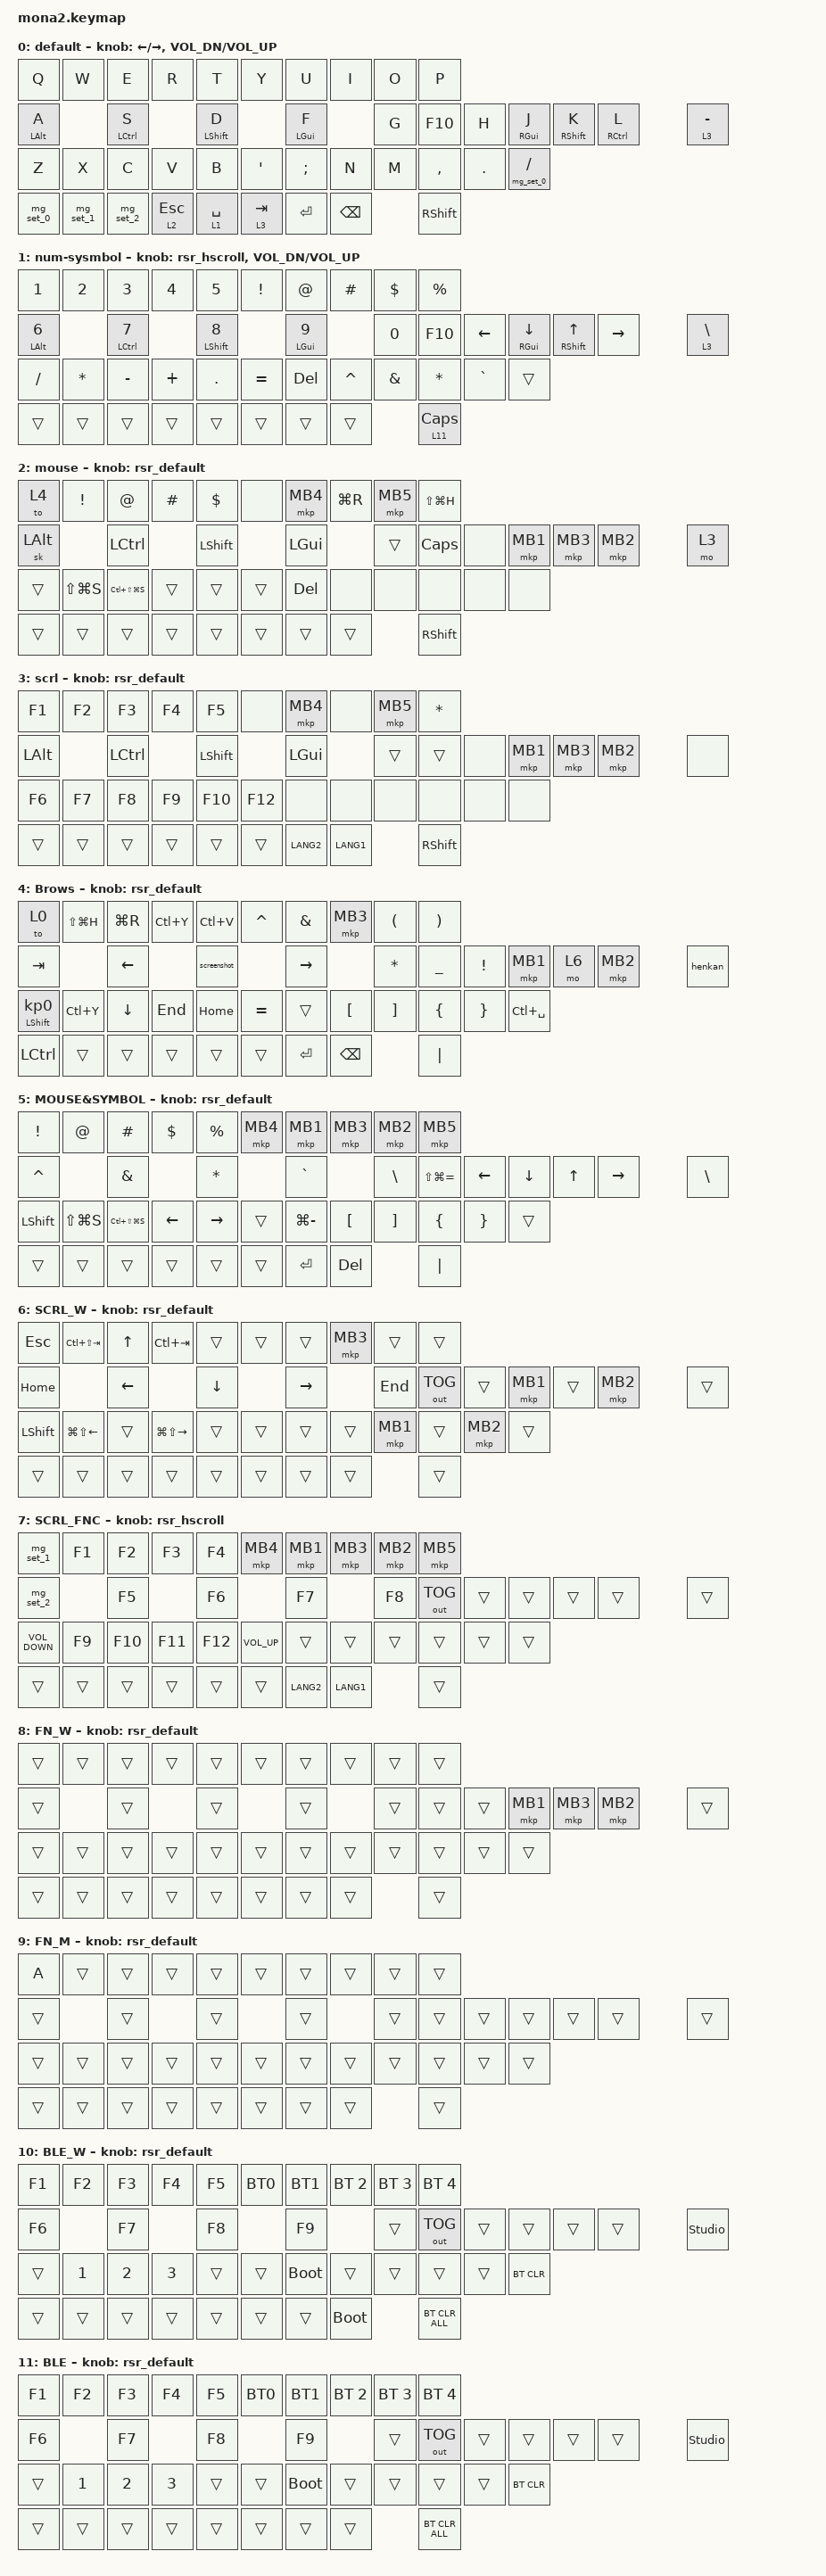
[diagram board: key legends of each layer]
#include <input/processors.dtsi>
#include <dt-bindings/zmk/input_transform.h>
#include <zephyr/dt-bindings/input/input-event-codes.h>
#include <behaviors/runtime-sensor-rotate.dtsi>
#include <behaviors.dtsi>
/* DYA Studio から作成したマクロを呼び出す `&rmacro <slot>` を定義する。
   slot は 0 〜 CONFIG_ZMK_RUNTIME_MACRO_COUNT-1 (現状 0〜7)。
   どのマクロがどのスロットに入っているかは DYA Studio のマクロ一覧で確認する。
   キーへの割り当ては DYA Studio のキーマップエディタからも行える。 */
#include <behaviors/runtime_macro.dtsi>
/* デフォルトレイヤー変更 behavior `&df`。
   DYA Studio の「OSごとのデフォルトレイヤー」から設定できるほか、
   キーマップエディタで `&df DF_SEL <layer>` / `&df DF_INC` を
   任意のキーに割り当てられる。 */
#include <behaviors/default_layer.dtsi>
#include <dt-bindings/zmk_behavior_default_layer/default_layer.h>
#include <dt-bindings/zmk/bt.h>
#include <dt-bindings/zmk/keys.h>
#include <dt-bindings/zmk/outputs.h>
#include <dt-bindings/zmk/pointing.h>

/* ZMK 側で 10 が定義済みなので警告回避のため一旦 undef */

#undef ZMK_POINTING_DEFAULT_SCRL_VAL

#define ZMK_POINTING_DEFAULT_SCRL_VAL 100


/ {
    behaviors {
        mg_set_0: behavior_mg_set_0 {
            compatible = "zmk,behavior-mg-set-fixed";
            #binding-cells = <0>;
            display-name = "Mouse Gesture Key 0";
        };

        mg_set_1: behavior_mg_set_1 {
            compatible = "zmk,behavior-mg-set-fixed";
            #binding-cells = <0>;
            display-name = "Mouse Gesture Key 1";
        };

        mg_set_2: behavior_mg_set_2 {
            compatible = "zmk,behavior-mg-set-fixed";
            #binding-cells = <0>;
            display-name = "Mouse Gesture Key 2";
        };
    };
};

&mt {
    flavor = "balanced";
    quick-tap-ms = <0>;
    // 直前のキー入力から150ms以内（文章を打っている最中）は常にタップ扱い
    // Aの長押しOptionの誤爆対策。不要ならこの行を消す
    require-prior-idle-ms = <150>;
};

&lt {
    quick-tap-ms = <200>;
    flavor = "balanced";
};

&msc {
    delay-ms = <0>;
    time-to-max-speed-ms = <0>;
    acceleration-exponent = <0>;
};

/ {
    /* ─────────────────────────────────────────────────────────────
       コンボ (DYA Studio から編集可能)

       旧 `combos { compatible = "zmk,combos"; }` はコンパイル時固定で
       DYA Studio から編集できないため、zmk-feature-runtime-combo の
       「コンパイル時デフォルト」ノードへ移行した。
       ここに書いた内容はフラッシュ直後から有効で、設定を消しても復活する。
       DYA Studio 側で編集するとそのスロットだけ上書きされ、
       Web UI の "Reset to Default" でここの値へ戻せる。

       スロット総数は CONFIG_ZMK_RUNTIME_COMBO_MAX_COMBOS (現状 16)。
       未使用スロット (6〜15) は DYA Studio から自由に追加できる。
       ────────────────────────────────────────────────────────── */
    runtime_combo_defaults {
        compatible = "cormoran,runtime-combo-defaults";

        input_lpar {
            slot = <0>;
            display-name = "input_(";
            key-positions = <3 4>;
            bindings = <&kp LEFT_PARENTHESIS>;
        };

        input_rpar {
            slot = <1>;
            display-name = "input_)";
            key-positions = <5 6>;
            bindings = <&kp RIGHT_PARENTHESIS>;
        };

        input_lbkt {
            slot = <2>;
            display-name = "input_[";
            key-positions = <13 14>;
            bindings = <&kp LEFT_BRACKET>;
        };

        input_rbkt {
            slot = <3>;
            display-name = "input_]";
            key-positions = <16 17>;
            bindings = <&kp RIGHT_BRACKET>;
        };

        input_lbrc {
            slot = <4>;
            display-name = "input_{";
            key-positions = <24 25>;
            bindings = <&kp LEFT_BRACE>;
        };

        input_rbrc {
            slot = <5>;
            display-name = "input_}";
            key-positions = <28 29>;
            bindings = <&kp RIGHT_BRACE>;
        };
    };

    /* 静的マクロ。キーマップ上で &BT0 / &screenshot などの名前で直接
       参照しているため、そのまま残している (DYA Studio 上では編集不可)。
       DYA Studio から編集したいマクロは Web UI で新規作成し、
       キーに `&rmacro <slot>` を割り当てて使う。 */
    macros {
        to_layer_0: to_layer_0 {
            compatible = "zmk,behavior-macro-one-param";
            #binding-cells = <1>;
            bindings = <&to 0 &macro_param_1to1 &kp MACRO_PLACEHOLDER>;
            label = "TO_LAYER_0";
        };

        BT0: BT0 {
            compatible = "zmk,behavior-macro";
            #binding-cells = <0>;
            bindings =
                <&tog_off 0 &tog_off 1>,
                <&macro_wait_time 200>,
                <&bt BT_SEL 0>,
                <&macro_wait_time 500>,
                <&tog_on 0>;

            label = "BT0";
        };

        BT1: BT1 {
            compatible = "zmk,behavior-macro";
            #binding-cells = <0>;
            bindings =
                <&tog_off 0 &tog_off 1>,
                <&macro_wait_time 200>,
                <&bt BT_SEL 1>,
                <&macro_wait_time 500>,
                <&tog_on 1>;

            label = "BT1";
        };

        screenshot: screenshot {
            compatible = "zmk,behavior-macro";
            #binding-cells = <0>;
            bindings =
                <&macro_press>,
                <&kp LEFT_GUI &kp RSHIFT>,
                <&macro_wait_time 20>,
                <&macro_tap>,
                <&kp S>,
                <&macro_release>,
                <&kp LEFT_GUI &kp RSHIFT>;

            label = "SCREENSHOT";
        };

        henkan: henkan {
            compatible = "zmk,behavior-macro";
            #binding-cells = <0>;
            bindings =
                <&macro_press>,
                <&kp LEFT_ALT>,
                <&macro_wait_time 20>,
                <&macro_tap>,
                <&kp GRAVE>,
                <&macro_release>,
                <&kp LEFT_ALT>;

            label = "HENKAN";
        };
    };

    behaviors {
        lt_to_layer_0: lt_to_layer_0 {
            compatible = "zmk,behavior-hold-tap";
            label = "LAYER_TAP_TO_0";
            bindings = <&mo>, <&to_layer_0>;

            #binding-cells = <2>;
            tapping-term-ms = <200>;
        };

        tp_repeat_mo1: tp_repeat_mo1 {
            compatible = "zmk,behavior-hold-tap";
            label = "TP_REPEAT_MO1";
            bindings = <&mo>, <&key_repeat>;

            #binding-cells = <2>;
            tapping-term-ms = <200>;
        };

        // エンコーダ用 runtime-configurable sensor rotate
        // デフォルトはスクロール (cw=SCRL_DOWN, ccw=SCRL_UP)
        // DYA Studio Web UI から レイヤーごとに cw/ccw の binding を
        // kp C_VOL_UP/DN や kp LEFT/RIGHT などへ動的変更可能

        rsr_default: rsr_default {
            compatible = "zmk,behavior-runtime-sensor-rotate";
            #sensor-binding-cells = <0>;
            tap-ms = <16>;
            cw-binding = <&msc SCRL_DOWN>;
            ccw-binding = <&msc SCRL_UP>;
        };

        // ── 「/」キー：タップで/、長押ししている間ジェスチャー0 ──
        // 右手だけでジェスチャーを使うため（小指で/を押さえて親指でボール）
        ht_slash_gesture: ht_slash_gesture {
            compatible = "zmk,behavior-hold-tap";
            display-name = "/ + Gesture 0";
            #binding-cells = <2>;
            flavor = "balanced";
            tapping-term-ms = <200>;
            quick-tap-ms = <200>;
            require-prior-idle-ms = <150>;
            bindings = <&mg_set_0>, <&kp>;
        };

        // ── Ctrlだけの長押し修飾（反対の手のキーと組み合わせたときだけCtrlになる）──
        // キー番号: 左手 0-4 / 10-14 / 21-26 / 33-38、右手 5-9 / 15-20 / 27-32 / 39-41
        // S用：右手のキーを押したときだけCtrl。「sa」やS+親指Spaceでは誤爆しない
        hrm_ctrl_l: hrm_ctrl_l {
            compatible = "zmk,behavior-hold-tap";
            display-name = "HRM Ctrl (Left/S)";
            #binding-cells = <2>;
            flavor = "balanced";
            tapping-term-ms = <200>;
            quick-tap-ms = <0>;
            require-prior-idle-ms = <150>;
            hold-trigger-key-positions = <5 6 7 8 9 15 16 17 18 19 20 27 28 29 30 31 32 39 40 41>;
            hold-trigger-on-release;
            bindings = <&kp>, <&kp>;
        };

        // L用：左手のキー（左親指を含む）を押したときだけCtrl
        hrm_ctrl_r: hrm_ctrl_r {
            compatible = "zmk,behavior-hold-tap";
            display-name = "HRM Ctrl (Right/L)";
            #binding-cells = <2>;
            flavor = "balanced";
            tapping-term-ms = <200>;
            quick-tap-ms = <0>;
            require-prior-idle-ms = <150>;
            hold-trigger-key-positions = <0 1 2 3 4 10 11 12 13 14 21 22 23 24 25 26 33 34 35 36 37 38>;
            hold-trigger-on-release;
            bindings = <&kp>, <&kp>;
        };

        // レイヤー1・7用：左右スクロール (DYA Studioで設定していた内容)
        rsr_hscroll: rsr_hscroll {
            compatible = "zmk,behavior-runtime-sensor-rotate";
            #sensor-binding-cells = <0>;
            tap-ms = <16>;
            cw-binding = <&msc SCRL_RIGHT>;
            ccw-binding = <&msc SCRL_LEFT>;
        };

        tog_on: toggle_layer_on_only {
            compatible = "zmk,behavior-toggle-layer";
            #binding-cells = <1>;
            display-name = "Toggle Layer On";
            toggle-mode = "on";
        };

        tog_off: toggle_layer_off_only {
            compatible = "zmk,behavior-toggle-layer";
            #binding-cells = <1>;
            display-name = "Toggle Layer Off";
            toggle-mode = "off";
        };

        zfold: zfold {
            compatible = "zmk,behavior-hold-tap";
            label = "ZFOLD";
            bindings = <&kp>, <&kp>;

            #binding-cells = <2>;
            tapping-term-ms = <300>;
            flavor = "hold-preferred";
            quick-tap-ms = <150>;
            hold-while-undecided;
        };

        zfoldZ: zfoldZ {
            compatible = "zmk,behavior-tap-dance";
            label = "ZFOLDZ";
            #binding-cells = <0>;
            bindings = <&zfold LEFT_SHIFT Z>, <&kp LS(Z)>;
        };
    };

    keymap {
        compatible = "zmk,keymap";

        win_layer {
            display-name = "default";
            bindings = <
&kp Q  &kp W  &kp E  &kp R  &kp T  &kp Y  &kp U  &kp I  &kp O  &kp P
&mt LEFT_ALT A  &hrm_ctrl_l LEFT_CONTROL S  &mt LEFT_SHIFT D  &mt LEFT_GUI F  &kp G  &kp F10  &kp H  &mt RIGHT_GUI J  &mt RIGHT_SHIFT K  &hrm_ctrl_r RIGHT_CONTROL L  &lt 3 MINUS
&kp Z  &kp X  &kp C  &kp V  &kp B  &kp SINGLE_QUOTE  &kp SEMICOLON  &kp N  &kp M  &kp COMMA  &kp DOT  &ht_slash_gesture 0 SLASH
&mg_set_0  &mg_set_1  &mg_set_2  &lt 2 ESCAPE  &lt 1 SPACE  &lt 3 TAB  &kp ENTER  &kp BACKSPACE  &kp RIGHT_SHIFT
            >;

            // エンコーダー：時計回りで左矢印、反時計回りで右矢印（実機の向きに合わせて入れ替え済み）
            sensor-bindings = <&inc_dec_kp LEFT_ARROW RIGHT_ARROW>, <&inc_dec_kp C_VOL_DN C_VOL_UP>;
        };

        mac_layer {
            display-name = "num-sysmbol";
            bindings = <
&kp NUMBER_1  &kp NUMBER_2  &kp NUMBER_3  &kp NUMBER_4  &kp NUMBER_5  &kp EXCLAMATION  &kp AT_SIGN  &kp HASH  &kp DOLLAR  &kp PERCENT
&mt LEFT_ALT NUMBER_6  &mt LEFT_CONTROL NUMBER_7  &mt LEFT_SHIFT NUMBER_8  &mt LEFT_GUI NUMBER_9  &kp NUMBER_0  &kp F10  &kp LEFT_ARROW  &mt RIGHT_GUI DOWN_ARROW  &mt RIGHT_SHIFT UP_ARROW  &kp RIGHT_ARROW  &lt 3 BACKSLASH
&kp SLASH  &kp ASTERISK  &kp MINUS  &kp PLUS  &kp DOT  &kp EQUAL  &kp DELETE  &kp CARET  &kp AMPERSAND  &kp ASTERISK  &kp GRAVE  &trans
&trans  &trans  &trans  &trans  &trans  &trans  &trans  &trans  &lt 11 CAPSLOCK
            >;

            sensor-bindings = <&rsr_hscroll>, <&inc_dec_kp C_VOL_DN C_VOL_UP>;
        };

        num_win {
            display-name = "mouse";
            bindings = <
&to 4  &kp EXCLAMATION  &kp AT_SIGN  &kp HASH  &kp DOLLAR  &none  &mkp MB4  &kp LG(R)  &mkp MB5  &kp LS(LG(H))
&sk LEFT_ALT  &kp LEFT_CONTROL  &kp LEFT_SHIFT  &kp LEFT_GUI  &trans  &kp CAPSLOCK  &none  &mkp MB1  &mkp MB3  &mkp MB2  &mo 3
&trans  &kp LS(LG(S))  &kp LC(LS(LG(S)))  &trans  &trans  &trans  &kp DELETE  &none  &none  &none  &none  &none
&trans  &trans  &trans  &trans  &trans  &trans  &trans  &trans  &kp RIGHT_SHIFT
            >;

            sensor-bindings = <&rsr_default>;
        };

        num_mac {
            display-name = "scrl";
            bindings = <
&kp F1  &kp F2  &kp F3  &kp F4  &kp F5  &none  &mkp MB4  &none  &mkp MB5  &kp ASTERISK
&kp LEFT_ALT  &kp LEFT_CONTROL  &kp LEFT_SHIFT  &kp LEFT_GUI  &trans  &trans  &none  &mkp MB1  &mkp MB3  &mkp MB2  &none
&kp F6  &kp F7  &kp F8  &kp F9  &kp F10  &kp F12  &none  &none  &none  &none  &none  &none
&trans  &trans  &trans  &trans  &trans  &trans  &kp LANG2  &kp LANG1  &kp RIGHT_SHIFT
            >;

            sensor-bindings = <&rsr_default>;
        };

        mouse_win {
            display-name = "Brows";
            bindings = <
&to 0  &kp LS(LG(H))  &kp LG(R)  &kp LC(Y)  &kp LC(V)  &kp CARET  &kp AMPERSAND  &mkp MB3  &kp LEFT_PARENTHESIS  &kp RIGHT_PARENTHESIS
&kp TAB  &kp LEFT_ARROW  &screenshot  &kp RIGHT_ARROW  &kp ASTERISK  &kp UNDERSCORE  &kp EXCLAMATION  &mkp MB1  &mo 6  &mkp MB2  &henkan
&mt LEFT_SHIFT KP_NUMBER_0  &kp LC(Y)  &kp DOWN_ARROW  &kp END  &kp HOME  &kp EQUAL  &trans  &kp LEFT_BRACKET  &kp RIGHT_BRACKET  &kp LEFT_BRACE  &kp RIGHT_BRACE  &kp LC(SPACE)
&kp LCTRL  &trans  &trans  &trans  &trans  &trans  &kp ENTER  &kp BACKSPACE  &kp PIPE
            >;

            sensor-bindings = <&rsr_default>;
        };

        mouse_mac {
            display-name = "MOUSE&SYMBOL";
            bindings = <
&kp EXCLAMATION  &kp AT_SIGN  &kp HASH  &kp DOLLAR  &kp PERCENT  &mkp MB4  &mkp MB1  &mkp MB3  &mkp MB2  &mkp MB5
&kp CARET  &kp AMPERSAND  &kp ASTERISK  &kp GRAVE  &kp BACKSLASH  &kp LS(LG(EQUAL))  &kp LEFT_ARROW  &kp DOWN_ARROW  &kp UP_ARROW  &kp RIGHT_ARROW  &kp BACKSLASH
&kp LEFT_SHIFT  &kp LS(LG(S))  &kp LC(LS(LG(S)))  &kp LEFT_ARROW  &kp RIGHT_ARROW  &trans  &kp LG(MINUS)  &kp LEFT_BRACKET  &kp RIGHT_BRACKET  &kp LEFT_BRACE  &kp RIGHT_BRACE  &trans
&trans  &trans  &trans  &trans  &trans  &trans  &kp ENTER  &kp DELETE  &kp PIPE
            >;

            sensor-bindings = <&rsr_default>;
        };

        scroll_win {
            display-name = "SCRL_W";
            bindings = <
&kp ESCAPE  &kp LC(LS(TAB))  &kp UP_ARROW  &kp LC(TAB)  &trans  &trans  &trans  &mkp MB3  &trans  &trans
&kp HOME  &kp LEFT_ARROW  &kp DOWN_ARROW  &kp RIGHT_ARROW  &kp END  &out OUT_TOG  &trans  &mkp MB1  &trans  &mkp MB2  &trans
&kp LEFT_SHIFT  &kp LG(LS(LEFT_ARROW))  &trans  &kp LG(LS(RIGHT_ARROW))  &trans  &trans  &trans  &trans  &mkp MB1  &trans  &mkp MB2  &trans
&trans  &trans  &trans  &trans  &trans  &trans  &trans  &trans  &trans
            >;

            sensor-bindings = <&rsr_default>;
        };

        scroll_mac {
            display-name = "SCRL_FNC";
            bindings = <
&mg_set_1  &kp F1  &kp F2  &kp F3  &kp F4  &mkp MB4  &mkp MB1  &mkp MB3  &mkp MB2  &mkp MB5
&mg_set_2  &kp F5  &kp F6  &kp F7  &kp F8  &out OUT_TOG  &trans  &trans  &trans  &trans  &trans
&kp C_VOLUME_DOWN  &kp F9  &kp F10  &kp F11  &kp F12  &kp C_VOLUME_UP  &trans  &trans  &trans  &trans  &trans  &trans
&trans  &trans  &trans  &trans  &trans  &trans  &kp LANG2  &kp LANG1  &trans
            >;

            sensor-bindings = <&rsr_hscroll>;
        };

        function_win {
            display-name = "FN_W";
            bindings = <
&trans  &trans  &trans  &trans  &trans  &trans  &trans  &trans  &trans  &trans
&trans  &trans  &trans  &trans  &trans  &trans  &trans  &mkp MB1  &mkp MB3  &mkp MB2  &trans
&trans  &trans  &trans  &trans  &trans  &trans  &trans  &trans  &trans  &trans  &trans  &trans
&trans  &trans  &trans  &trans  &trans  &trans  &trans  &trans  &trans
            >;

            // エンコーダー設定が無いとレイヤー0（矢印）に落ちるので縦スクロールを明示
            sensor-bindings = <&rsr_default>;
        };

        function_mac {
            display-name = "FN_M";
            bindings = <
&kp A  &trans  &trans  &trans  &trans  &trans  &trans  &trans  &trans  &trans
&trans  &trans  &trans  &trans  &trans  &trans  &trans  &trans  &trans  &trans  &trans
&trans  &trans  &trans  &trans  &trans  &trans  &trans  &trans  &trans  &trans  &trans  &trans
&trans  &trans  &trans  &trans  &trans  &trans  &trans  &trans  &trans
            >;

            // エンコーダー設定が無いとレイヤー0（矢印）に落ちるので縦スクロールを明示
            sensor-bindings = <&rsr_default>;
        };

        ble_win {
            display-name = "BLE_W";
            bindings = <
&kp F1  &kp F2  &kp F3  &kp F4  &kp F5  &BT0  &BT1  &bt BT_SEL 2  &bt BT_SEL 3  &bt BT_SEL 4
&kp F6  &kp F7  &kp F8  &kp F9  &trans  &out OUT_TOG  &trans  &trans  &trans  &trans  &studio_unlock
&trans  &kp NUMBER_1  &kp NUMBER_2  &kp NUMBER_3  &trans  &trans  &bootloader  &trans  &trans  &trans  &trans  &bt BT_CLR
&trans  &trans  &trans  &trans  &trans  &trans  &trans  &bootloader  &bt BT_CLR_ALL
            >;

            // エンコーダー設定が無いとレイヤー0（矢印）に落ちるので縦スクロールを明示
            sensor-bindings = <&rsr_default>;
        };

        ble_mac {
            display-name = "BLE";
            bindings = <
&kp F1  &kp F2  &kp F3  &kp F4  &kp F5  &BT0  &BT1  &bt BT_SEL 2  &bt BT_SEL 3  &bt BT_SEL 4
&kp F6  &kp F7  &kp F8  &kp F9  &trans  &out OUT_TOG  &trans  &trans  &trans  &trans  &studio_unlock
&trans  &kp NUMBER_1  &kp NUMBER_2  &kp NUMBER_3  &trans  &trans  &bootloader  &trans  &trans  &trans  &trans  &bt BT_CLR
&trans  &trans  &trans  &trans  &trans  &trans  &trans  &trans  &bt BT_CLR_ALL
            >;

            // エンコーダー設定が無いとレイヤー0（矢印）に落ちるので縦スクロールを明示
            sensor-bindings = <&rsr_default>;
        };
    };
};
